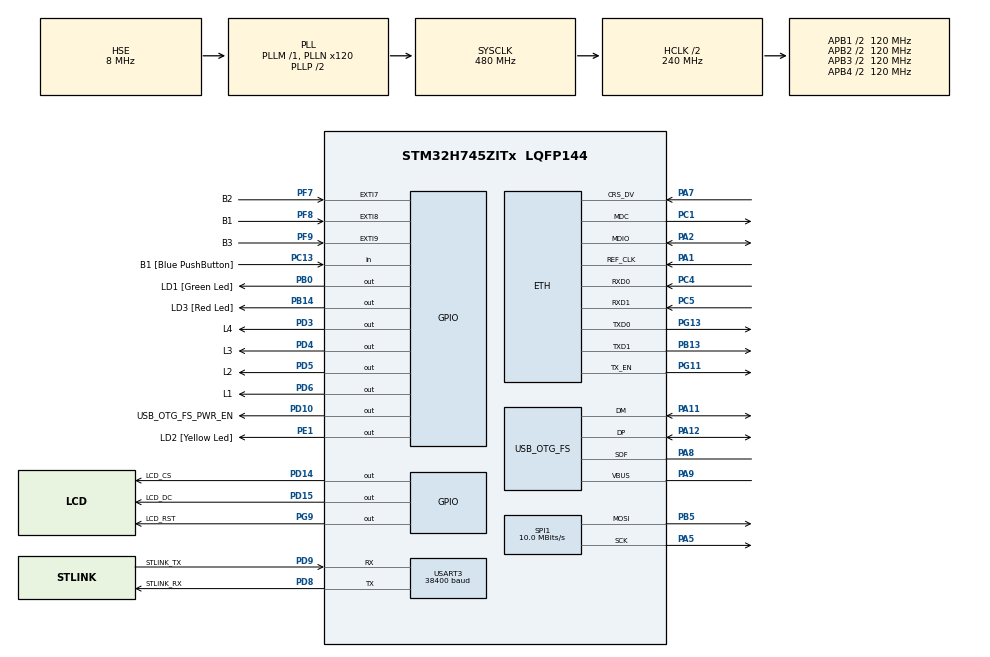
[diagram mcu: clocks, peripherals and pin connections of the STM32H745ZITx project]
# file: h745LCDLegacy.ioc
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CortexM4.IPs=FATFS_M4\:I,FREERTOS_M4\:I,IWDG2\:I,RCC,WWDG2\:I,DMA,BDMA,MDMA,NVIC2\:I,ETH,DEBUG,USB_DEVICE_M4\:I,USB_HOST_M4\:I,PDM2PCM_M4\:I,PWR,RESMGR_UTILITY,SYS_M4\:I,CORTEX_M4\:I,OPENAMP_M4\:I,VREFBUF
CortexM4.Pins=PF7,PF8,PF9,PB0,PB14,PE1
CortexM7.IPs=FATFS_M7\:I,FREERTOS_M7\:I,IWDG1\:I,RCC\:I,WWDG1\:I,DMA\:I,BDMA\:I,MDMA\:I,NVIC1\:I,SYS\:I,USART3\:I,USB_OTG_FS\:I,ETH\:I,CORTEX_M7\:I,DEBUG\:I,USB_DEVICE_M7\:I,USB_HOST_M7\:I,PDM2PCM_M7\:I,PWR\:I,RESMGR_UTILITY\:I,OPENAMP_M7\:I,VREFBUF\:I,SPI1\:I
CortexM7.Pins=PD14,PD15,PD3,PD4,PD5,PD6,PG9
Dma.Request0=SPI1_TX
Dma.Request1=USART3_RX
Dma.Request2=USART3_TX
Dma.SPI1_TX.0.Direction=DMA_MEMORY_TO_PERIPH
Dma.SPI1_TX.0.EventEnable=DISABLE
Dma.SPI1_TX.0.FIFOMode=DMA_FIFOMODE_DISABLE
Dma.SPI1_TX.0.Instance=DMA1_Stream0
Dma.SPI1_TX.0.MemDataAlignment=DMA_MDATAALIGN_BYTE
Dma.SPI1_TX.0.MemInc=DMA_MINC_ENABLE
Dma.SPI1_TX.0.Mode=DMA_CIRCULAR
Dma.SPI1_TX.0.PeriphDataAlignment=DMA_PDATAALIGN_BYTE
Dma.SPI1_TX.0.PeriphInc=DMA_PINC_DISABLE
Dma.SPI1_TX.0.Polarity=HAL_DMAMUX_REQ_GEN_RISING
Dma.SPI1_TX.0.Priority=DMA_PRIORITY_LOW
Dma.SPI1_TX.0.RequestNumber=1
Dma.SPI1_TX.0.SignalID=NONE
Dma.SPI1_TX.0.SyncEnable=DISABLE
Dma.SPI1_TX.0.SyncPolarity=HAL_DMAMUX_SYNC_NO_EVENT
Dma.SPI1_TX.0.SyncRequestNumber=1
Dma.SPI1_TX.0.SyncSignalID=NONE
Dma.USART3_RX.1.Direction=DMA_PERIPH_TO_MEMORY
Dma.USART3_RX.1.EventEnable=DISABLE
Dma.USART3_RX.1.FIFOMode=DMA_FIFOMODE_DISABLE
Dma.USART3_RX.1.Instance=DMA1_Stream1
Dma.USART3_RX.1.MemDataAlignment=DMA_MDATAALIGN_BYTE
Dma.USART3_RX.1.MemInc=DMA_MINC_ENABLE
Dma.USART3_RX.1.Mode=DMA_CIRCULAR
Dma.USART3_RX.1.PeriphDataAlignment=DMA_PDATAALIGN_BYTE
Dma.USART3_RX.1.PeriphInc=DMA_PINC_DISABLE
Dma.USART3_RX.1.Polarity=HAL_DMAMUX_REQ_GEN_RISING
Dma.USART3_RX.1.Priority=DMA_PRIORITY_LOW
Dma.USART3_RX.1.RequestNumber=1
Dma.USART3_RX.1.SignalID=NONE
Dma.USART3_RX.1.SyncEnable=DISABLE
Dma.USART3_RX.1.SyncPolarity=HAL_DMAMUX_SYNC_NO_EVENT
Dma.USART3_RX.1.SyncRequestNumber=1
Dma.USART3_RX.1.SyncSignalID=NONE
Dma.USART3_TX.2.Direction=DMA_MEMORY_TO_PERIPH
Dma.USART3_TX.2.EventEnable=DISABLE
Dma.USART3_TX.2.FIFOMode=DMA_FIFOMODE_DISABLE
Dma.USART3_TX.2.Instance=DMA1_Stream2
Dma.USART3_TX.2.MemDataAlignment=DMA_MDATAALIGN_BYTE
Dma.USART3_TX.2.MemInc=DMA_MINC_ENABLE
Dma.USART3_TX.2.Mode=DMA_NORMAL
Dma.USART3_TX.2.PeriphDataAlignment=DMA_PDATAALIGN_BYTE
Dma.USART3_TX.2.PeriphInc=DMA_PINC_DISABLE
Dma.USART3_TX.2.Polarity=HAL_DMAMUX_REQ_GEN_RISING
Dma.USART3_TX.2.Priority=DMA_PRIORITY_LOW
Dma.USART3_TX.2.RequestNumber=1
Dma.USART3_TX.2.SignalID=NONE
Dma.USART3_TX.2.SyncEnable=DISABLE
Dma.USART3_TX.2.SyncPolarity=HAL_DMAMUX_SYNC_NO_EVENT
Dma.USART3_TX.2.SyncRequestNumber=1
Dma.USART3_TX.2.SyncSignalID=NONE
ETH.MediaInterface=HAL_ETH_RMII_MODE
Mcu.Family=STM32H7
Mcu.Name=STM32H745ZITx
Mcu.Package=LQFP144
NVIC1.DMA1_Stream0_IRQn=true\:0\:0\:false\:false\:true\:false\:true
NVIC1.DMA1_Stream1_IRQn=true\:0\:0\:false\:false\:true\:false\:true
NVIC1.DMA1_Stream2_IRQn=true\:0\:0\:false\:false\:true\:false\:true
NVIC1.PriorityGroup=NVIC_PRIORITYGROUP_4
NVIC1.SPI1_IRQn=true\:0\:0\:false\:false\:true\:false\:true
NVIC1.USART3_IRQn=true\:0\:0\:false\:false\:true\:true\:true
NVIC2.EXTI9_5_IRQn=true\:0\:0\:false\:false\:true\:true\:true
NVIC2.PriorityGroup=NVIC_PRIORITYGROUP_4
PA1.Mode=RMII
PA1.PinAttribute=CortexM7
PA1.Signal=ETH_REF_CLK
PA11.Mode=Device_Only
PA11.PinAttribute=CortexM7
PA11.Signal=USB_OTG_FS_DM
PA12.Mode=Device_Only
PA12.PinAttribute=CortexM7
PA12.Signal=USB_OTG_FS_DP
PA2.Mode=RMII
PA2.PinAttribute=CortexM7
PA2.Signal=ETH_MDIO
PA5.Mode=TX_Only_Simplex_Unidirect_Master
PA5.PinAttribute=CortexM7
PA5.Signal=SPI1_SCK
PA7.Mode=RMII
PA7.PinAttribute=CortexM7
PA7.Signal=ETH_CRS_DV
PA8.Mode=Activate_SOF_FS
PA8.PinAttribute=CortexM7
PA8.Signal=USB_OTG_FS_SOF
PA9.Mode=Activate_VBUS
PA9.PinAttribute=CortexM7
PA9.Signal=USB_OTG_FS_VBUS
PB0.GPIO_Label=LD1 [Green Led]
PB0.PinAttribute=CortexM4
PB0.PinState=GPIO_PIN_RESET
PB0.Signal=GPIO_Output
PB13.Mode=RMII
PB13.PinAttribute=CortexM7
PB13.Signal=ETH_TXD1
PB14.GPIO_Label=LD3 [Red Led]
PB14.PinAttribute=CortexM4
PB14.PinState=GPIO_PIN_RESET
PB14.Signal=GPIO_Output
PB5.Mode=TX_Only_Simplex_Unidirect_Master
PB5.PinAttribute=CortexM7
PB5.Signal=SPI1_MOSI
PC1.Mode=RMII
PC1.PinAttribute=CortexM7
PC1.Signal=ETH_MDC
PC13.GPIO_Label=B1 [Blue PushButton]
PC13.PinAttribute=Free
PC13.Signal=GPIO_Input
PC14-OSC32_IN\ (OSC32_IN).Mode=LSE-External-Oscillator
PC14-OSC32_IN\ (OSC32_IN).PinAttribute=CortexM7
PC14-OSC32_IN\ (OSC32_IN).Signal=RCC_OSC32_IN
PC15-OSC32_OUT\ (OSC32_OUT).Mode=LSE-External-Oscillator
PC15-OSC32_OUT\ (OSC32_OUT).PinAttribute=CortexM7
PC15-OSC32_OUT\ (OSC32_OUT).Signal=RCC_OSC32_OUT
PC4.Mode=RMII
PC4.PinAttribute=CortexM7
PC4.Signal=ETH_RXD0
PC5.Mode=RMII
PC5.PinAttribute=CortexM7
PC5.Signal=ETH_RXD1
PD10.GPIO_Label=USB_OTG_FS_PWR_EN
PD10.PinAttribute=Free
PD10.Signal=GPIO_Output
PD14.GPIO_Label=LCD_CS
PD14.PinAttribute=CortexM7
PD14.PinState=GPIO_PIN_SET
PD14.Signal=GPIO_Output
PD15.GPIO_Label=LCD_DC
PD15.PinAttribute=CortexM7
PD15.Signal=GPIO_Output
PD3.GPIO_Label=L4
PD3.PinAttribute=CortexM7
PD3.PinState=GPIO_PIN_SET
PD3.Signal=GPIO_Output
PD4.GPIO_Label=L3
PD4.PinAttribute=CortexM7
PD4.PinState=GPIO_PIN_SET
PD4.Signal=GPIO_Output
PD5.GPIO_Label=L2
PD5.PinAttribute=CortexM7
PD5.PinState=GPIO_PIN_SET
PD5.Signal=GPIO_Output
PD6.GPIO_Label=L1
PD6.PinAttribute=CortexM7
PD6.PinState=GPIO_PIN_SET
PD6.Signal=GPIO_Output
PD8.GPIO_Label=STLINK_RX
PD8.Mode=Asynchronous
PD8.PinAttribute=CortexM7
PD8.Signal=USART3_TX
PD9.GPIO_Label=STLINK_TX
PD9.Mode=Asynchronous
PD9.PinAttribute=CortexM7
PD9.Signal=USART3_RX
PE1.GPIO_Label=LD2 [Yellow Led]
PE1.PinAttribute=CortexM4
PE1.PinState=GPIO_PIN_RESET
PE1.Signal=GPIO_Output
PF7.GPIO_Label=B2
PF7.GPIO_ModeDefaultEXTI=GPIO_MODE_IT_FALLING
PF7.PinAttribute=CortexM4
PF7.Signal=GPXTI7
PF8.GPIO_Label=B1
PF8.GPIO_ModeDefaultEXTI=GPIO_MODE_IT_FALLING
PF8.PinAttribute=CortexM4
PF8.Signal=GPXTI8
PF9.GPIO_Label=B3
PF9.GPIO_ModeDefaultEXTI=GPIO_MODE_IT_FALLING
PF9.PinAttribute=CortexM4
PF9.Signal=GPXTI9
PG11.Mode=RMII
PG11.PinAttribute=CortexM7
PG11.Signal=ETH_TX_EN
PG13.Mode=RMII
PG13.PinAttribute=CortexM7
PG13.Signal=ETH_TXD0
PG9.GPIO_Label=LCD_RST
PG9.PinAttribute=CortexM7
PG9.PinState=GPIO_PIN_SET
PG9.Signal=GPIO_Output
PH0-OSC_IN\ (PH0).Mode=HSE-External-Clock-Source
PH0-OSC_IN\ (PH0).PinAttribute=CortexM7
PH0-OSC_IN\ (PH0).Signal=RCC_OSC_IN
PH1-OSC_OUT\ (PH1).PinAttribute=CortexM7
PH1-OSC_OUT\ (PH1).Signal=RCC_OSC_OUT
ProjectManager.HeapSize=M4-0x200,M7-0x200
ProjectManager.StackSize=M4-0x400,M7-0x400
ProjectManager.TargetToolchain=STM32CubeIDE
RCC.ADCFreq_Value=16125000
RCC.APB1Freq_Value=120000000
RCC.APB2Freq_Value=120000000
RCC.APB3Freq_Value=120000000
RCC.APB4Freq_Value=120000000
RCC.CortexFreq_Value=480000000
RCC.D1PPRE=RCC_APB3_DIV2
RCC.D2PPRE1=RCC_APB1_DIV2
RCC.D2PPRE2=RCC_APB2_DIV2
RCC.D3PPRE=RCC_APB4_DIV2
RCC.DIVM1=1
RCC.DIVM3=1
RCC.DIVN1=120
RCC.DIVN3=18
RCC.DIVQ1=6
RCC.DIVQ3=3
RCC.HCLKFreq_Value=240000000
RCC.HPRE=RCC_HCLK_DIV2
RCC.HSE_VALUE=8000000
RCC.PLL2FRACN=0
RCC.PLL3FRACN=6144
RCC.PLLFRACN=0
RCC.PWR_Regulator_Voltage_Scale=PWR_REGULATOR_VOLTAGE_SCALE0
RCC.SYSCLKFreq_VALUE=480000000
RCC.SYSCLKSource=RCC_SYSCLKSOURCE_PLLCLK
RCC.SupplySource=PWR_DIRECT_SMPS_SUPPLY
RCC.USBCLockSelection=RCC_USBCLKSOURCE_PLL3
RCC.USBFreq_Value=50000000
SPI1.BaudRatePrescaler=SPI_BAUDRATEPRESCALER_16
SPI1.CalculateBaudRate=10.0 MBits/s
SPI1.DataSize=SPI_DATASIZE_8BIT
SPI1.Direction=SPI_DIRECTION_2LINES_TXONLY
SPI1.MasterKeepIOState=SPI_MASTER_KEEP_IO_STATE_ENABLE
SPI1.Mode=SPI_MODE_MASTER
SPI1.VirtualType=VM_MASTER
USART3.BaudRate=38400
USART3.VirtualMode-Asynchronous=VM_ASYNC
USB_OTG_FS.VirtualMode=Device_Only
VP_SYS_M4_VS_Systick.Mode=SysTick
board=NUCLEO-H745ZI-Q

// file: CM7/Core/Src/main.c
/* USER CODE BEGIN Header */
/**
 ******************************************************************************
 * @file           : main.c
 * @brief          : Main program body
 ******************************************************************************
 * @attention
 *
 * <h2><center>&copy; Copyright (c) 2021 STMicroelectronics.
 * All rights reserved.</center></h2>
 *
 * This software component is licensed by ST under BSD 3-Clause license,
 * the "License"; You may not use this file except in compliance with the
 * License. You may obtain a copy of the License at:
 *                        opensource.org/licenses/BSD-3-Clause
 *
 ******************************************************************************
 */
/* USER CODE END Header */
#include "main.h"
#include "string.h"

/* USER CODE BEGIN Includes */
#include "ST7735.h"
#include "Uart.h"
/* USER CODE END Includes */

/* USER CODE BEGIN PD */

#ifndef HSEM_ID_0
#define HSEM_ID_0 (0U) /* HW semaphore 0*/
#endif
/* USER CODE END PD */

#if defined ( __ICCARM__ ) /*!< IAR Compiler */

#pragma location=0x30040000
ETH_DMADescTypeDef  DMARxDscrTab[ETH_RX_DESC_CNT]; /* Ethernet Rx DMA Descriptors */
#pragma location=0x30040060
ETH_DMADescTypeDef  DMATxDscrTab[ETH_TX_DESC_CNT]; /* Ethernet Tx DMA Descriptors */
#pragma location=0x30040200
uint8_t Rx_Buff[ETH_RX_DESC_CNT][ETH_MAX_PACKET_SIZE]; /* Ethernet Receive Buffers */

#elif defined ( __CC_ARM )  /* MDK ARM Compiler */

__attribute__((at(0x30040000))) ETH_DMADescTypeDef  DMARxDscrTab[ETH_RX_DESC_CNT]; /* Ethernet Rx DMA Descriptors */
__attribute__((at(0x30040060))) ETH_DMADescTypeDef  DMATxDscrTab[ETH_TX_DESC_CNT]; /* Ethernet Tx DMA Descriptors */
__attribute__((at(0x30040200))) uint8_t Rx_Buff[ETH_RX_DESC_CNT][ETH_MAX_PACKET_SIZE]; /* Ethernet Receive Buffer */

#elif defined ( __GNUC__ ) /* GNU Compiler */

ETH_DMADescTypeDef DMARxDscrTab[ETH_RX_DESC_CNT] __attribute__((section(".RxDecripSection"))); /* Ethernet Rx DMA Descriptors */
ETH_DMADescTypeDef DMATxDscrTab[ETH_TX_DESC_CNT] __attribute__((section(".TxDecripSection")));   /* Ethernet Tx DMA Descriptors */
uint8_t Rx_Buff[ETH_RX_DESC_CNT][ETH_MAX_PACKET_SIZE] __attribute__((section(".RxArraySection"))); /* Ethernet Receive Buffers */

#endif

ETH_TxPacketConfig TxConfig;

ETH_HandleTypeDef heth;

SPI_HandleTypeDef hspi1;
DMA_HandleTypeDef hdma_spi1_tx;

UART_HandleTypeDef huart3;
DMA_HandleTypeDef hdma_usart3_rx;
DMA_HandleTypeDef hdma_usart3_tx;

PCD_HandleTypeDef hpcd_USB_OTG_FS;

/* USER CODE BEGIN PV */
LCDHandle ST7735 = { 0 };
UARTStucrture UART2 ={ 0 };
//CM7
//Create structure of share memory region
typedef struct
{
	uint8_t ButtonState;
	uint8_t SystemState;
}ShareType;
//assign structure at specific memory address(SRAM4/RAM_D3)
ShareType *sharedMemory = (ShareType*)(0x38000000);
/* USER CODE END PV */

void SystemClock_Config(void);
static void MX_GPIO_Init(void);
static void MX_ETH_Init(void);
static void MX_USART3_UART_Init(void);
static void MX_DMA_Init(void);
static void MX_SPI1_Init(void);
static void MX_USB_OTG_FS_PCD_Init(void);

int main(void)
{
/* USER CODE BEGIN Boot_Mode_Sequence_0 */
	int32_t timeout;
/* USER CODE END Boot_Mode_Sequence_0 */

/* USER CODE BEGIN Boot_Mode_Sequence_1 */
	/* Wait until CPU2 boots and enters in stop mode or timeout*/
	timeout = 0xFFFF;
	while ((__HAL_RCC_GET_FLAG(RCC_FLAG_D2CKRDY) != RESET) && (timeout-- > 0))
		;
	if (timeout < 0) {
		Error_Handler();
	}
/* USER CODE END Boot_Mode_Sequence_1 */
  /* MCU Configuration--------------------------------------------------------*/

  /* Reset of all peripherals, Initializes the Flash interface and the Systick. */
  HAL_Init();

  /* Configure the system clock */
  SystemClock_Config();
/* USER CODE BEGIN Boot_Mode_Sequence_2 */
	/* When system initialization is finished, Cortex-M7 will release Cortex-M4 by means of
	 HSEM notification */
	/*HW semaphore Clock enable*/
	__HAL_RCC_HSEM_CLK_ENABLE();
	/*Take HSEM */
	HAL_HSEM_FastTake(HSEM_ID_0);
	/*Release HSEM in order to notify the CPU2(CM4)*/
	HAL_HSEM_Release(HSEM_ID_0, 0);
	/* wait until CPU2 wakes up from stop mode */
	timeout = 0xFFFF;
	while ((__HAL_RCC_GET_FLAG(RCC_FLAG_D2CKRDY) == RESET) && (timeout-- > 0))
		;
	if (timeout < 0) {
		Error_Handler();
	}
/* USER CODE END Boot_Mode_Sequence_2 */

  /* Initialize all configured peripherals */
  MX_GPIO_Init();
  MX_ETH_Init();
  MX_USART3_UART_Init();
  MX_DMA_Init();
  MX_SPI1_Init();
  MX_USB_OTG_FS_PCD_Init();
  /* USER CODE BEGIN 2 */
  	  	  // LCD init
	ST7735.hspi = &hspi1;
	ST7735.CSPort = GPIOD;
	ST7735.CSPin = GPIO_PIN_14;
	ST7735.DCPort = GPIOD;
	ST7735.DCPin = GPIO_PIN_15;
	ST7735.RstPort = GPIOG;
	ST7735.RstPin = GPIO_PIN_9;
	LCD_init(&ST7735);
	LCD_flush(&ST7735);
		// UART init
	UART2.huart = &huart3;
	UART2.RxLen =255;
	UART2.TxLen =255;
	UARTInit(&UART2);
	UARTResetStart(&UART2);

  /* USER CODE END 2 */

  /* Infinite loop */
  /* USER CODE BEGIN WHILE */
	while (1) {
		int16_t read = UARTReadChar(&UART2) ;
		if(read != -1)
			{
				BMPDecoder(read, LCDBufferAddr());	//LCD
			}

		if(sharedMemory->SystemState)// if PIR detect movement
		{
			HAL_GPIO_WritePin(L1_GPIO_Port,L1_Pin,GPIO_PIN_RESET);

			if(HAL_HSEM_FastTake(1) == HAL_OK)
			  {
			  switch(sharedMemory->ButtonState){ // check button HC-35 status light
			  case 0:
				  break;
			  case 1:// Low speed status light & LCD display
				  HAL_GPIO_WritePin(L2_GPIO_Port,L2_Pin,GPIO_PIN_RESET);
				  HAL_GPIO_WritePin(L3_GPIO_Port,L3_Pin,GPIO_PIN_SET);
				  HAL_GPIO_WritePin(L4_GPIO_Port,L4_Pin,GPIO_PIN_SET);

//				  memcpy(Framememory,Speed01,sizeof(Speed01));
				  break;
			  case 2:// Mid speed status light & LCD display
				  HAL_GPIO_WritePin(L2_GPIO_Port,L2_Pin,GPIO_PIN_SET);
				  HAL_GPIO_WritePin(L3_GPIO_Port,L3_Pin,GPIO_PIN_RESET);
				  HAL_GPIO_WritePin(L4_GPIO_Port,L4_Pin,GPIO_PIN_SET);

//				  memcpy(Framememory,Speed02,sizeof(Speed02));
				  break;
			  case 3:// High speed status light & LCD display
				  HAL_GPIO_WritePin(L2_GPIO_Port,L2_Pin,GPIO_PIN_SET);
				  HAL_GPIO_WritePin(L3_GPIO_Port,L3_Pin,GPIO_PIN_SET);
				  HAL_GPIO_WritePin(L4_GPIO_Port,L4_Pin,GPIO_PIN_RESET);

//				  memcpy(Framememory,Speed03,sizeof(Speed03));
				  break;
			  default:
				  break;
			  }
		  }
			  // Unlock HSEM1
			  HAL_HSEM_Release(1,0);
		  }
    /* USER CODE END WHILE */

	}
}

void SystemClock_Config(void)
{
  RCC_OscInitTypeDef RCC_OscInitStruct = {0};
  RCC_ClkInitTypeDef RCC_ClkInitStruct = {0};

  /** Supply configuration update enable
  */
  HAL_PWREx_ConfigSupply(PWR_DIRECT_SMPS_SUPPLY);
  /** Configure the main internal regulator output voltage
  */
  __HAL_PWR_VOLTAGESCALING_CONFIG(PWR_REGULATOR_VOLTAGE_SCALE0);

  while(!__HAL_PWR_GET_FLAG(PWR_FLAG_VOSRDY)) {}
  /** Macro to configure the PLL clock source
  */
  __HAL_RCC_PLL_PLLSOURCE_CONFIG(RCC_PLLSOURCE_HSE);
  /** Initializes the RCC Oscillators according to the specified parameters
  * in the RCC_OscInitTypeDef structure.
  */
  RCC_OscInitStruct.OscillatorType = RCC_OSCILLATORTYPE_HSE;
  RCC_OscInitStruct.HSEState = RCC_HSE_BYPASS;
  RCC_OscInitStruct.PLL.PLLState = RCC_PLL_ON;
  RCC_OscInitStruct.PLL.PLLSource = RCC_PLLSOURCE_HSE;
  RCC_OscInitStruct.PLL.PLLM = 1;
  RCC_OscInitStruct.PLL.PLLN = 120;
  RCC_OscInitStruct.PLL.PLLP = 2;
  RCC_OscInitStruct.PLL.PLLQ = 6;
  RCC_OscInitStruct.PLL.PLLR = 2;
  RCC_OscInitStruct.PLL.PLLRGE = RCC_PLL1VCIRANGE_3;
  RCC_OscInitStruct.PLL.PLLVCOSEL = RCC_PLL1VCOWIDE;
  RCC_OscInitStruct.PLL.PLLFRACN = 0;
  if (HAL_RCC_OscConfig(&RCC_OscInitStruct) != HAL_OK)
  {
    Error_Handler();
  }
  /** Initializes the CPU, AHB and APB buses clocks
  */
  RCC_ClkInitStruct.ClockType = RCC_CLOCKTYPE_HCLK|RCC_CLOCKTYPE_SYSCLK
                              |RCC_CLOCKTYPE_PCLK1|RCC_CLOCKTYPE_PCLK2
                              |RCC_CLOCKTYPE_D3PCLK1|RCC_CLOCKTYPE_D1PCLK1;
  RCC_ClkInitStruct.SYSCLKSource = RCC_SYSCLKSOURCE_PLLCLK;
  RCC_ClkInitStruct.SYSCLKDivider = RCC_SYSCLK_DIV1;
  RCC_ClkInitStruct.AHBCLKDivider = RCC_HCLK_DIV2;
  RCC_ClkInitStruct.APB3CLKDivider = RCC_APB3_DIV2;
  RCC_ClkInitStruct.APB1CLKDivider = RCC_APB1_DIV2;
  RCC_ClkInitStruct.APB2CLKDivider = RCC_APB2_DIV2;
  RCC_ClkInitStruct.APB4CLKDivider = RCC_APB4_DIV2;

  if (HAL_RCC_ClockConfig(&RCC_ClkInitStruct, FLASH_LATENCY_4) != HAL_OK)
  {
    Error_Handler();
  }
}

static void MX_ETH_Init(void)
{

   static uint8_t MACAddr[6];

  heth.Instance = ETH;
  MACAddr[0] = 0x00;
  MACAddr[1] = 0x80;
  MACAddr[2] = 0xE1;
  MACAddr[3] = 0x00;
  MACAddr[4] = 0x00;
  MACAddr[5] = 0x00;
  heth.Init.MACAddr = &MACAddr[0];
  heth.Init.MediaInterface = HAL_ETH_RMII_MODE;
  heth.Init.TxDesc = DMATxDscrTab;
  heth.Init.RxDesc = DMARxDscrTab;
  heth.Init.RxBuffLen = 1524;

  if (HAL_ETH_Init(&heth) != HAL_OK)
  {
    Error_Handler();
  }

  memset(&TxConfig, 0 , sizeof(ETH_TxPacketConfig));
  TxConfig.Attributes = ETH_TX_PACKETS_FEATURES_CSUM | ETH_TX_PACKETS_FEATURES_CRCPAD;
  TxConfig.ChecksumCtrl = ETH_CHECKSUM_IPHDR_PAYLOAD_INSERT_PHDR_CALC;
  TxConfig.CRCPadCtrl = ETH_CRC_PAD_INSERT;

}

static void MX_SPI1_Init(void)
{

  /* SPI1 parameter configuration*/
  hspi1.Instance = SPI1;
  hspi1.Init.Mode = SPI_MODE_MASTER;
  hspi1.Init.Direction = SPI_DIRECTION_2LINES_TXONLY;
  hspi1.Init.DataSize = SPI_DATASIZE_8BIT;
  hspi1.Init.CLKPolarity = SPI_POLARITY_LOW;
  hspi1.Init.CLKPhase = SPI_PHASE_1EDGE;
  hspi1.Init.NSS = SPI_NSS_SOFT;
  hspi1.Init.BaudRatePrescaler = SPI_BAUDRATEPRESCALER_16;
  hspi1.Init.FirstBit = SPI_FIRSTBIT_MSB;
  hspi1.Init.TIMode = SPI_TIMODE_DISABLE;
  hspi1.Init.CRCCalculation = SPI_CRCCALCULATION_DISABLE;
  hspi1.Init.CRCPolynomial = 0x0;
  hspi1.Init.NSSPMode = SPI_NSS_PULSE_ENABLE;
  hspi1.Init.NSSPolarity = SPI_NSS_POLARITY_LOW;
  hspi1.Init.FifoThreshold = SPI_FIFO_THRESHOLD_01DATA;
  hspi1.Init.TxCRCInitializationPattern = SPI_CRC_INITIALIZATION_ALL_ZERO_PATTERN;
  hspi1.Init.RxCRCInitializationPattern = SPI_CRC_INITIALIZATION_ALL_ZERO_PATTERN;
  hspi1.Init.MasterSSIdleness = SPI_MASTER_SS_IDLENESS_00CYCLE;
  hspi1.Init.MasterInterDataIdleness = SPI_MASTER_INTERDATA_IDLENESS_00CYCLE;
  hspi1.Init.MasterReceiverAutoSusp = SPI_MASTER_RX_AUTOSUSP_DISABLE;
  hspi1.Init.MasterKeepIOState = SPI_MASTER_KEEP_IO_STATE_ENABLE;
  hspi1.Init.IOSwap = SPI_IO_SWAP_DISABLE;
  if (HAL_SPI_Init(&hspi1) != HAL_OK)
  {
    Error_Handler();
  }

}

static void MX_USART3_UART_Init(void)
{

  huart3.Instance = USART3;
  huart3.Init.BaudRate = 38400;
  huart3.Init.WordLength = UART_WORDLENGTH_8B;
  huart3.Init.StopBits = UART_STOPBITS_1;
  huart3.Init.Parity = UART_PARITY_NONE;
  huart3.Init.Mode = UART_MODE_TX_RX;
  huart3.Init.HwFlowCtl = UART_HWCONTROL_NONE;
  huart3.Init.OverSampling = UART_OVERSAMPLING_16;
  huart3.Init.OneBitSampling = UART_ONE_BIT_SAMPLE_DISABLE;
  huart3.Init.ClockPrescaler = UART_PRESCALER_DIV1;
  huart3.AdvancedInit.AdvFeatureInit = UART_ADVFEATURE_NO_INIT;
  if (HAL_UART_Init(&huart3) != HAL_OK)
  {
    Error_Handler();
  }
  if (HAL_UARTEx_SetTxFifoThreshold(&huart3, UART_TXFIFO_THRESHOLD_1_8) != HAL_OK)
  {
    Error_Handler();
  }
  if (HAL_UARTEx_SetRxFifoThreshold(&huart3, UART_RXFIFO_THRESHOLD_1_8) != HAL_OK)
  {
    Error_Handler();
  }
  if (HAL_UARTEx_DisableFifoMode(&huart3) != HAL_OK)
  {
    Error_Handler();
  }

}

static void MX_USB_OTG_FS_PCD_Init(void)
{

  hpcd_USB_OTG_FS.Instance = USB_OTG_FS;
  hpcd_USB_OTG_FS.Init.dev_endpoints = 9;
  hpcd_USB_OTG_FS.Init.speed = PCD_SPEED_FULL;
  hpcd_USB_OTG_FS.Init.dma_enable = DISABLE;
  hpcd_USB_OTG_FS.Init.phy_itface = PCD_PHY_EMBEDDED;
  hpcd_USB_OTG_FS.Init.Sof_enable = DISABLE;
  hpcd_USB_OTG_FS.Init.low_power_enable = DISABLE;
  hpcd_USB_OTG_FS.Init.lpm_enable = DISABLE;
  hpcd_USB_OTG_FS.Init.battery_charging_enable = ENABLE;
  hpcd_USB_OTG_FS.Init.vbus_sensing_enable = ENABLE;
  hpcd_USB_OTG_FS.Init.use_dedicated_ep1 = DISABLE;
  if (HAL_PCD_Init(&hpcd_USB_OTG_FS) != HAL_OK)
  {
    Error_Handler();
  }

}

static void MX_DMA_Init(void)
{

  /* DMA controller clock enable */
  __HAL_RCC_DMA1_CLK_ENABLE();

  /* DMA interrupt init */
  /* DMA1_Stream0_IRQn interrupt configuration */
  HAL_NVIC_SetPriority(DMA1_Stream0_IRQn, 0, 0);
  HAL_NVIC_EnableIRQ(DMA1_Stream0_IRQn);
  /* DMA1_Stream1_IRQn interrupt configuration */
  HAL_NVIC_SetPriority(DMA1_Stream1_IRQn, 0, 0);
  HAL_NVIC_EnableIRQ(DMA1_Stream1_IRQn);
  /* DMA1_Stream2_IRQn interrupt configuration */
  HAL_NVIC_SetPriority(DMA1_Stream2_IRQn, 0, 0);
  HAL_NVIC_EnableIRQ(DMA1_Stream2_IRQn);

}

static void MX_GPIO_Init(void)
{
  GPIO_InitTypeDef GPIO_InitStruct = {0};

  /* GPIO Ports Clock Enable */
  __HAL_RCC_GPIOC_CLK_ENABLE();
  __HAL_RCC_GPIOH_CLK_ENABLE();
  __HAL_RCC_GPIOA_CLK_ENABLE();
  __HAL_RCC_GPIOB_CLK_ENABLE();
  __HAL_RCC_GPIOD_CLK_ENABLE();
  __HAL_RCC_GPIOG_CLK_ENABLE();

  /*Configure GPIO pin Output Level */
  HAL_GPIO_WritePin(GPIOD, LCD_CS_Pin|L4_Pin|L3_Pin|L2_Pin
                          |L1_Pin, GPIO_PIN_SET);

  /*Configure GPIO pin Output Level */
  HAL_GPIO_WritePin(LCD_DC_GPIO_Port, LCD_DC_Pin, GPIO_PIN_RESET);

  /*Configure GPIO pin Output Level */
  HAL_GPIO_WritePin(LCD_RST_GPIO_Port, LCD_RST_Pin, GPIO_PIN_SET);

  /*Configure GPIO pins : LCD_CS_Pin LCD_DC_Pin L4_Pin L3_Pin
                           L2_Pin L1_Pin */
  GPIO_InitStruct.Pin = LCD_CS_Pin|LCD_DC_Pin|L4_Pin|L3_Pin
                          |L2_Pin|L1_Pin;
  GPIO_InitStruct.Mode = GPIO_MODE_OUTPUT_PP;
  GPIO_InitStruct.Pull = GPIO_NOPULL;
  GPIO_InitStruct.Speed = GPIO_SPEED_FREQ_LOW;
  HAL_GPIO_Init(GPIOD, &GPIO_InitStruct);

  /*Configure GPIO pin : LCD_RST_Pin */
  GPIO_InitStruct.Pin = LCD_RST_Pin;
  GPIO_InitStruct.Mode = GPIO_MODE_OUTPUT_PP;
  GPIO_InitStruct.Pull = GPIO_NOPULL;
  GPIO_InitStruct.Speed = GPIO_SPEED_FREQ_LOW;
  HAL_GPIO_Init(LCD_RST_GPIO_Port, &GPIO_InitStruct);

}

void Error_Handler(void)
{
	__disable_irq();
	while (1) {
	}
}

/************************ (C) COPYRIGHT STMicroelectronics *****END OF FILE****/
